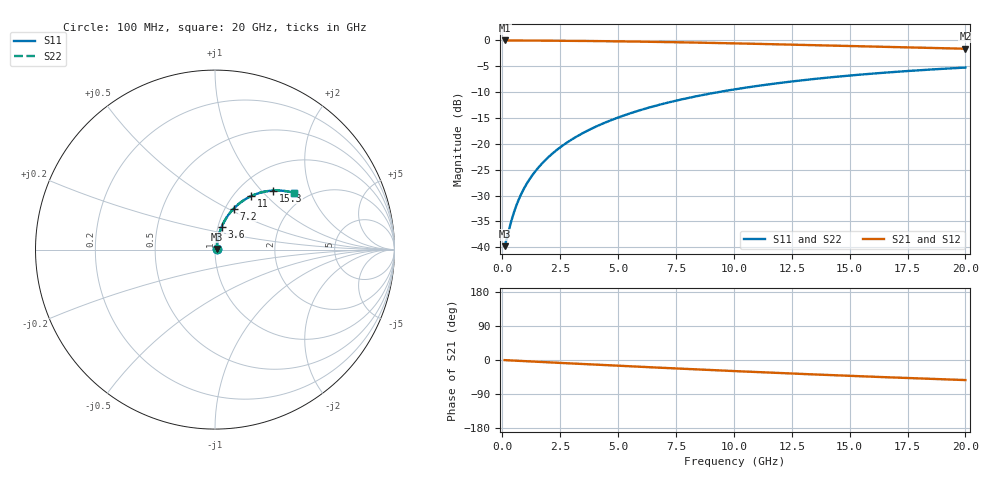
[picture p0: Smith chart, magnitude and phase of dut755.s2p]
! Touchstone file exported from HFSS 2026.1.0
!  File:  C:/ffzhzh/LocalFiles/Ansys_Project_Files/temp_train_TMRDL_755_1783155345_22436.aedt
!  Generated:  04:56:59 PM Jul  4, 2026
!  Design:  TMRDL
!  Project:  temp_train_TMRDL_755_1783155345_22436
! Variables:
!  h_bsmrdl = 2um
!  h_ox = 20um
!  h_rdl = 5um
!  h_sub = 80um
!  h_tmrdl = 2.17um
!  h_tsv = 80um
!  h_via = 3um
!  l_bsmrdl = 300um
!  l_sub = 1157.22um
!  l_tmrdl = 757.22um
!  m_sub = 200um
!  pitch = 41.05um
!  r_tsv = 6um
!  s_tmrdl = 10um
!  w_bsmrdl = 18um
!  w_sub = 500um
!  w_tmrdl = 12.96um
!  x_tsv_center1 = 763.7um
!  x_tsv_center2 = 1081.7um
!  x_tsv_center3 = 1851.88um
!  x_tsv_center4 = 2169.88um
!  x_tsv_center5 = 2940.06um
!  x_tsv_center6 = 3258.06um
# GHz S MA R 50.000000
! Terminal data exported
! Port[1] = TM_RDL1_1_T1
! Port[2] = TM_RDL1_1_T2
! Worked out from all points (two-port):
!   200 points, 100 MHz to 20 GHz, reference 50 ohm
!   highest |S21| = -0.08 dB at 100 MHz (marker M1); lowest = -1.7 dB at 20 GHz (marker M2)
!   |S21| within 3 dB of the highest: start of sweep to end of sweep
!   lowest |S11| = -39.8 dB at 100 MHz (marker M3), VSWR 1.02, Z = 51 + j0.391 ohm
!   |S11| at or under -10 dB: start of sweep to 9.392 GHz
!   |S22| runs from -39.8 to -5.3 dB; largest |S21 - S12| = 2.1e-15
!   S11 on the Smith chart (normalised r, x): 100 MHz: 1.02, +0.01; 3.6 GHz: 1.04, +0.27; 7.2 GHz: 1.10, +0.53; 11 GHz: 1.20, +0.82; 15.3 GHz: 1.39, +1.16; 20 GHz: 1.72, +1.53
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0.1  0.01027 21.9  0.9905 -0.3  0.9905 -0.3  0.01027 21.9
! Gamma 0 0 0 0
! Port Impedance 50 0 50 0
0.4  0.01829 56.3  0.9901 -1.3  0.9901 -1.3  0.01828 56.3
0.6  0.02508 64.3  0.9896 -1.9  0.9896 -1.9  0.02508 64.3
0.7  0.02857 66.7  0.9894 -2.2  0.9894 -2.2  0.02857 66.7
0.9  0.0356 69.9  0.9889 -2.8  0.9889 -2.8  0.0356 69.9
1.2  0.04619 72.6  0.9881 -3.7  0.9881 -3.7  0.04619 72.6
1.7  0.06388 74.6  0.9867 -5.2  0.9867 -5.2  0.06388 74.6
2.2  0.08157 75.1  0.9852 -6.7  0.9852 -6.7  0.08157 75.1
2.8  0.1028 74.9  0.983 -8.6  0.983 -8.6  0.1028 74.9
3.5  0.1273 74.0  0.98 -10.7  0.98 -10.7  0.1273 74.0
3.6  0.1308 73.8  0.9795 -11.0  0.9795 -11.0  0.1308 73.8
4.3  0.155 72.5  0.9758 -13.0  0.9758 -13.0  0.155 72.5
5  0.1788 70.9  0.9716 -15.1  0.9716 -15.1  0.1788 70.9
6.8  0.2379 66.6  0.9584 -20.3  0.9584 -20.3  0.2379 66.6
7.2  0.2505 65.6  0.9551 -21.5  0.9551 -21.5  0.2505 65.6
8.6  0.2932 62.0  0.9426 -25.4  0.9426 -25.4  0.2932 62.0
10.1  0.3361 58.2  0.9279 -29.4  0.9279 -29.4  0.3361 58.2
11  0.3603 55.9  0.9186 -31.8  0.9186 -31.8  0.3603 55.9
13.4  0.4194 50.0  0.8929 -37.9  0.8929 -37.9  0.4194 50.1
15.3  0.4605 45.6  0.8723 -42.5  0.8723 -42.5  0.4605 45.6
16.7  0.4878 42.4  0.8573 -45.7  0.8573 -45.7  0.4878 42.5
20  0.5425 35.4  0.824 -52.9  0.824 -52.9  0.5425 35.4
